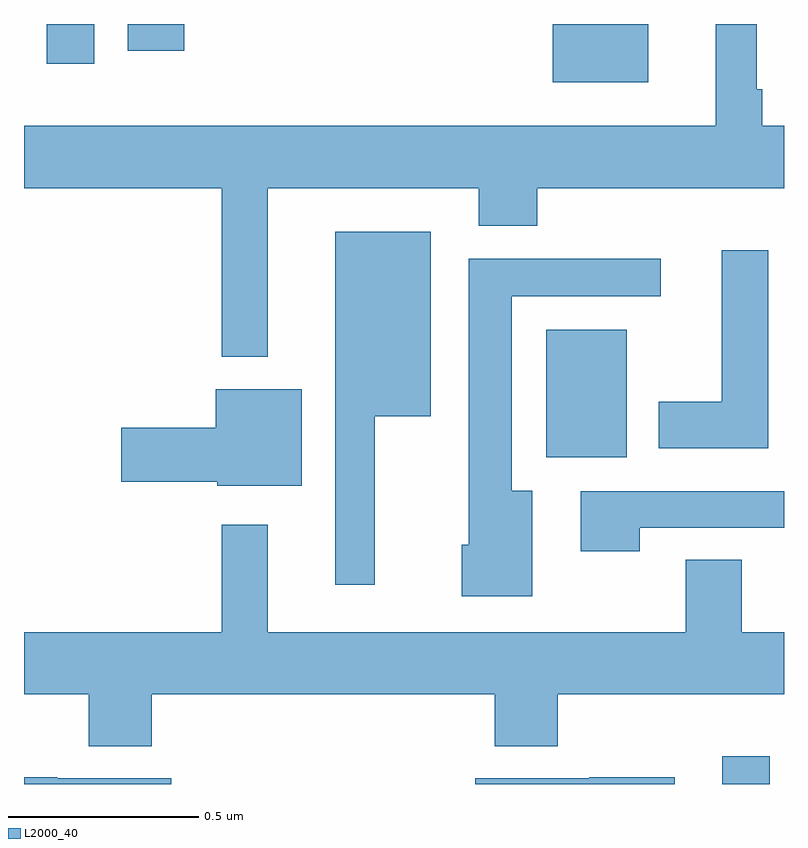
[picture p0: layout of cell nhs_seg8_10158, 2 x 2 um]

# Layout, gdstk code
import gdstk
lib = gdstk.Library(unit=1e-6, precision=1e-09)
def R(c, l, rs):  # rectangles x0, y0, x1, y1
    for r in rs: c.add(gdstk.rectangle(r[:2], r[2:], *l))
def P(c, l, *ps):  # polygons
    for p in ps: c.add(gdstk.Polygon(p, *l))
L2000_40 = (2000, 40)

nhs_seg8_10158 = lib.new_cell('nhs_seg8_10158')
R(nhs_seg8_10158, L2000_40, [(246.837,1146.9,246.962,1146.973), (246.374,1147.76,246.586,1148.095), (246.392,1148.747,246.643,1148.9), (245.06,1148.796,245.185,1148.9), (245.273,1148.829,245.422,1148.9)])
P(nhs_seg8_10158, L2000_40, [(245.641,1148.468),(246.197,1148.468),(246.197,1148.369),(246.35,1148.369),(246.35,1148.468),(247,1148.468),(247,1148.632),(246.943,1148.632),(246.943,1148.728),(246.928,1148.728),(246.928,1148.9),(246.821,1148.9),(246.821,1148.632),(245,1148.632),(245,1148.468),(245.52,1148.468),(245.52,1148.024),(245.641,1148.024)],
  [(245.923,1147.868),(246.07,1147.868),(246.07,1148.353),(245.819,1148.353),(245.819,1147.425),(245.923,1147.425)],
  [(246.958,1148.305),(246.836,1148.305),(246.836,1147.906),(246.671,1147.906),(246.671,1147.784),(246.958,1147.784)],
  [(246.337,1147.672),(246.283,1147.672),(246.283,1148.184),(246.676,1148.184),(246.676,1148.282),(246.17,1148.282),(246.17,1147.53),(246.152,1147.53),(246.152,1147.394),(246.337,1147.394)],
  [(245.731,1147.939),(245.504,1147.939),(245.504,1147.838),(245.256,1147.838),(245.256,1147.696),(245.508,1147.696),(245.508,1147.685),(245.731,1147.685)],
  [(246.621,1147.575),(247,1147.575),(247,1147.671),(246.465,1147.671),(246.465,1147.512),(246.621,1147.512)],
  [(245.336,1147.136),(246.239,1147.136),(246.239,1147),(246.404,1147),(246.404,1147.136),(247,1147.136),(247,1147.3),(246.889,1147.3),(246.889,1147.49),(246.742,1147.49),(246.742,1147.3),(245.641,1147.3),(245.641,1147.582),(245.52,1147.582),(245.52,1147.3),(245,1147.3),(245,1147.136),(245.171,1147.136),(245.171,1147),(245.336,1147)],
  [(246.712,1146.918),(246.487,1146.918),(246.487,1146.915),(246.187,1146.915),(246.187,1146.9),(246.712,1146.9)],
  [(245.387,1146.915),(245.087,1146.915),(245.087,1146.918),(245,1146.918),(245,1146.9),(245.387,1146.9)])

lib.write_gds('nhs_seg8_10158.gds')
